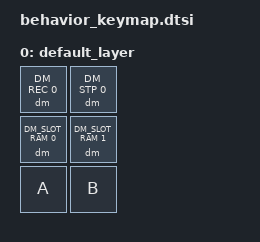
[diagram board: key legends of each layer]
#include <dt-bindings/zmk/keys.h>
#include <behaviors.dtsi>
#include <dt-bindings/zmk/kscan_mock.h>
#include <behaviors/dynamic_macro.dtsi>
#include <dt-bindings/zmk/dynamic_macros.h>

/ {
    chosen {
        zmk,kscan = &kscan;
    };

    kscan: kscan {
        compatible = "zmk,kscan-mock";
        rows = <3>;
        columns = <2>;
        exit-after;
    };

    keymap {
        compatible = "zmk,keymap";
        default_layer {
            bindings = <
                &dm DM_REC 0        &dm DM_STP 0
                &dm DM_SLOT_RAM 0   &dm DM_SLOT_RAM 1
                &kp A               &kp B
            >;
        };
    };
};
